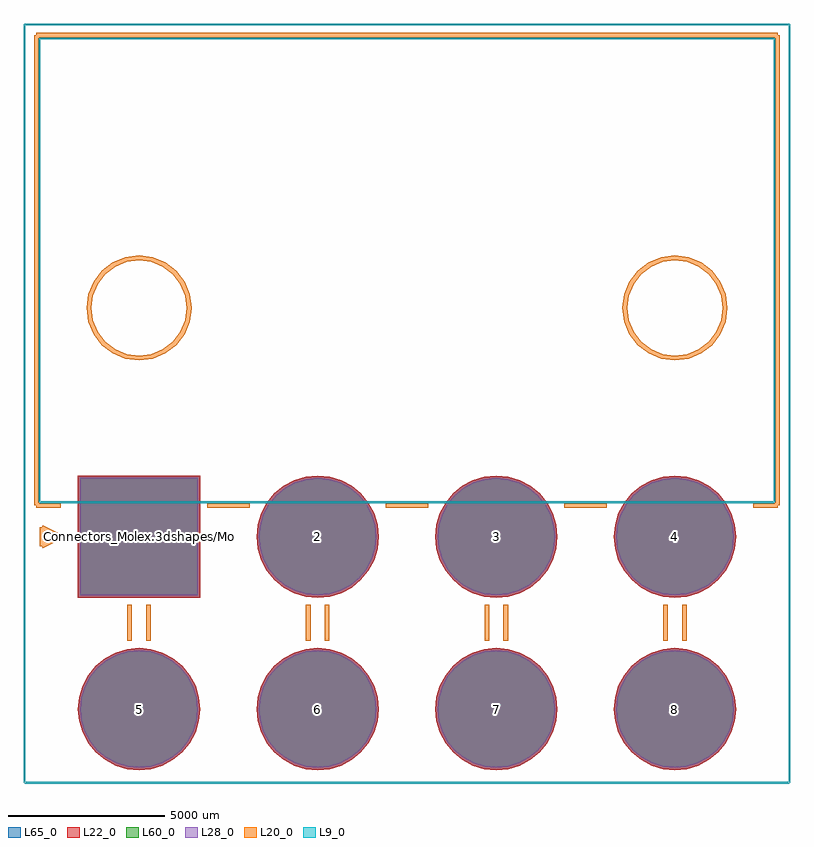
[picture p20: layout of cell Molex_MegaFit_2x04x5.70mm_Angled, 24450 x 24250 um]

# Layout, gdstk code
import gdstk
lib = gdstk.Library(unit=1e-6, precision=1e-09)
def R(c, l, rs):  # rectangles x0, y0, x1, y1
    for r in rs: c.add(gdstk.rectangle(r[:2], r[2:], *l))
def P(c, l, *ps):  # polygons
    for p in ps: c.add(gdstk.Polygon(p, *l))
L9_0 = (9, 0)
L20_0 = (20, 0)
L22_0 = (22, 0)
L28_0 = (28, 0)
L60_0 = (60, 0)
L65_0 = (65, 0)

molex_megafit_2x04x5_70m = lib.new_cell('Molex_MegaFit_2x04x5.70mm_Angled')
R(molex_megafit_2x04x5_70m, L22_0, [(-1950,-1950,1950,1950)])
P(molex_megafit_2x04x5_70m, L22_0, [(19050,-5500),(19012.531,-5119.574),(18901.565,-4753.767),(18721.366,-4416.638),(18478.858,-4121.142),(18183.362,-3878.634),(17846.233,-3698.435),(17480.426,-3587.469),(17100,-3550),(16719.574,-3587.469),(16353.767,-3698.435),(16016.638,-3878.634),(15721.142,-4121.142),(15478.634,-4416.638),(15298.435,-4753.767),(15187.469,-5119.574),(15150,-5500),(15187.469,-5880.426),(15298.435,-6246.233),(15478.634,-6583.362),(15721.142,-6878.858),(16016.638,-7121.366),(16353.767,-7301.565),(16719.574,-7412.531),(17100,-7450),(17480.426,-7412.531),(17846.233,-7301.565),(18183.362,-7121.366),(18478.858,-6878.858),(18721.366,-6583.362),(18901.565,-6246.233),(19012.531,-5880.426)],
  [(13350,-5500),(13312.531,-5119.574),(13201.565,-4753.767),(13021.366,-4416.638),(12778.858,-4121.142),(12483.362,-3878.634),(12146.233,-3698.435),(11780.426,-3587.469),(11400,-3550),(11019.574,-3587.469),(10653.767,-3698.435),(10316.638,-3878.634),(10021.142,-4121.142),(9778.634,-4416.638),(9598.435,-4753.767),(9487.469,-5119.574),(9450,-5500),(9487.469,-5880.426),(9598.435,-6246.233),(9778.634,-6583.362),(10021.142,-6878.858),(10316.638,-7121.366),(10653.767,-7301.565),(11019.574,-7412.531),(11400,-7450),(11780.426,-7412.531),(12146.233,-7301.565),(12483.362,-7121.366),(12778.858,-6878.858),(13021.366,-6583.362),(13201.565,-6246.233),(13312.531,-5880.426)],
  [(7650,-5500),(7612.531,-5119.574),(7501.565,-4753.767),(7321.366,-4416.638),(7078.858,-4121.142),(6783.362,-3878.634),(6446.233,-3698.435),(6080.426,-3587.469),(5700,-3550),(5319.574,-3587.469),(4953.767,-3698.435),(4616.638,-3878.634),(4321.142,-4121.142),(4078.634,-4416.638),(3898.435,-4753.767),(3787.469,-5119.574),(3750,-5500),(3787.469,-5880.426),(3898.435,-6246.233),(4078.634,-6583.362),(4321.142,-6878.858),(4616.638,-7121.366),(4953.767,-7301.565),(5319.574,-7412.531),(5700,-7450),(6080.426,-7412.531),(6446.233,-7301.565),(6783.362,-7121.366),(7078.858,-6878.858),(7321.366,-6583.362),(7501.565,-6246.233),(7612.531,-5880.426)],
  [(1950,-5500),(1912.531,-5119.574),(1801.565,-4753.767),(1621.366,-4416.638),(1378.858,-4121.142),(1083.362,-3878.634),(746.233,-3698.435),(380.426,-3587.469),(0,-3550),(-380.426,-3587.469),(-746.233,-3698.435),(-1083.362,-3878.634),(-1378.858,-4121.142),(-1621.366,-4416.638),(-1801.565,-4753.767),(-1912.531,-5119.574),(-1950,-5500),(-1912.531,-5880.426),(-1801.565,-6246.233),(-1621.366,-6583.362),(-1378.858,-6878.858),(-1083.362,-7121.366),(-746.233,-7301.565),(-380.426,-7412.531),(0,-7450),(380.426,-7412.531),(746.233,-7301.565),(1083.362,-7121.366),(1378.858,-6878.858),(1621.366,-6583.362),(1801.565,-6246.233),(1912.531,-5880.426)],
  [(19050,0),(19012.531,380.426),(18901.565,746.233),(18721.366,1083.362),(18478.858,1378.858),(18183.362,1621.366),(17846.233,1801.565),(17480.426,1912.531),(17100,1950),(16719.574,1912.531),(16353.767,1801.565),(16016.638,1621.366),(15721.142,1378.858),(15478.634,1083.362),(15298.435,746.233),(15187.469,380.426),(15150,0),(15187.469,-380.426),(15298.435,-746.233),(15478.634,-1083.362),(15721.142,-1378.858),(16016.638,-1621.366),(16353.767,-1801.565),(16719.574,-1912.531),(17100,-1950),(17480.426,-1912.531),(17846.233,-1801.565),(18183.362,-1621.366),(18478.858,-1378.858),(18721.366,-1083.362),(18901.565,-746.233),(19012.531,-380.426)],
  [(13350,0),(13312.531,380.426),(13201.565,746.233),(13021.366,1083.362),(12778.858,1378.858),(12483.362,1621.366),(12146.233,1801.565),(11780.426,1912.531),(11400,1950),(11019.574,1912.531),(10653.767,1801.565),(10316.638,1621.366),(10021.142,1378.858),(9778.634,1083.362),(9598.435,746.233),(9487.469,380.426),(9450,0),(9487.469,-380.426),(9598.435,-746.233),(9778.634,-1083.362),(10021.142,-1378.858),(10316.638,-1621.366),(10653.767,-1801.565),(11019.574,-1912.531),(11400,-1950),(11780.426,-1912.531),(12146.233,-1801.565),(12483.362,-1621.366),(12778.858,-1378.858),(13021.366,-1083.362),(13201.565,-746.233),(13312.531,-380.426)],
  [(7650,0),(7612.531,380.426),(7501.565,746.233),(7321.366,1083.362),(7078.858,1378.858),(6783.362,1621.366),(6446.233,1801.565),(6080.426,1912.531),(5700,1950),(5319.574,1912.531),(4953.767,1801.565),(4616.638,1621.366),(4321.142,1378.858),(4078.634,1083.362),(3898.435,746.233),(3787.469,380.426),(3750,0),(3787.469,-380.426),(3898.435,-746.233),(4078.634,-1083.362),(4321.142,-1378.858),(4616.638,-1621.366),(4953.767,-1801.565),(5319.574,-1912.531),(5700,-1950),(6080.426,-1912.531),(6446.233,-1801.565),(6783.362,-1621.366),(7078.858,-1378.858),(7321.366,-1083.362),(7501.565,-746.233),(7612.531,-380.426)])
R(molex_megafit_2x04x5_70m, L28_0, [(-1875,-1875,1875,1875)])
P(molex_megafit_2x04x5_70m, L28_0, [(18975,-5500),(18938.972,-5134.206),(18832.274,-4782.469),(18659.006,-4458.306),(18425.825,-4174.175),(18141.694,-3940.994),(17817.531,-3767.726),(17465.794,-3661.028),(17100,-3625),(16734.206,-3661.028),(16382.469,-3767.726),(16058.306,-3940.994),(15774.175,-4174.175),(15540.994,-4458.306),(15367.726,-4782.469),(15261.028,-5134.206),(15225,-5500),(15261.028,-5865.794),(15367.726,-6217.531),(15540.994,-6541.694),(15774.175,-6825.825),(16058.306,-7059.006),(16382.469,-7232.274),(16734.206,-7338.972),(17100,-7375),(17465.794,-7338.972),(17817.531,-7232.274),(18141.694,-7059.006),(18425.825,-6825.825),(18659.006,-6541.694),(18832.274,-6217.531),(18938.972,-5865.794)],
  [(13275,-5500),(13238.972,-5134.206),(13132.274,-4782.469),(12959.006,-4458.306),(12725.825,-4174.175),(12441.694,-3940.994),(12117.531,-3767.726),(11765.794,-3661.028),(11400,-3625),(11034.206,-3661.028),(10682.469,-3767.726),(10358.306,-3940.994),(10074.175,-4174.175),(9840.994,-4458.306),(9667.726,-4782.469),(9561.028,-5134.206),(9525,-5500),(9561.028,-5865.794),(9667.726,-6217.531),(9840.994,-6541.694),(10074.175,-6825.825),(10358.306,-7059.006),(10682.469,-7232.274),(11034.206,-7338.972),(11400,-7375),(11765.794,-7338.972),(12117.531,-7232.274),(12441.694,-7059.006),(12725.825,-6825.825),(12959.006,-6541.694),(13132.274,-6217.531),(13238.972,-5865.794)],
  [(7575,-5500),(7538.972,-5134.206),(7432.274,-4782.469),(7259.006,-4458.306),(7025.825,-4174.175),(6741.694,-3940.994),(6417.531,-3767.726),(6065.794,-3661.028),(5700,-3625),(5334.206,-3661.028),(4982.469,-3767.726),(4658.306,-3940.994),(4374.175,-4174.175),(4140.994,-4458.306),(3967.726,-4782.469),(3861.028,-5134.206),(3825,-5500),(3861.028,-5865.794),(3967.726,-6217.531),(4140.994,-6541.694),(4374.175,-6825.825),(4658.306,-7059.006),(4982.469,-7232.274),(5334.206,-7338.972),(5700,-7375),(6065.794,-7338.972),(6417.531,-7232.274),(6741.694,-7059.006),(7025.825,-6825.825),(7259.006,-6541.694),(7432.274,-6217.531),(7538.972,-5865.794)],
  [(1875,-5500),(1838.972,-5134.206),(1732.274,-4782.469),(1559.006,-4458.306),(1325.825,-4174.175),(1041.694,-3940.994),(717.531,-3767.726),(365.794,-3661.028),(0,-3625),(-365.794,-3661.028),(-717.531,-3767.726),(-1041.694,-3940.994),(-1325.825,-4174.175),(-1559.006,-4458.306),(-1732.274,-4782.469),(-1838.972,-5134.206),(-1875,-5500),(-1838.972,-5865.794),(-1732.274,-6217.531),(-1559.006,-6541.694),(-1325.825,-6825.825),(-1041.694,-7059.006),(-717.531,-7232.274),(-365.794,-7338.972),(0,-7375),(365.794,-7338.972),(717.531,-7232.274),(1041.694,-7059.006),(1325.825,-6825.825),(1559.006,-6541.694),(1732.274,-6217.531),(1838.972,-5865.794)],
  [(18975,0),(18938.972,365.794),(18832.274,717.531),(18659.006,1041.694),(18425.825,1325.825),(18141.694,1559.006),(17817.531,1732.274),(17465.794,1838.972),(17100,1875),(16734.206,1838.972),(16382.469,1732.274),(16058.306,1559.006),(15774.175,1325.825),(15540.994,1041.694),(15367.726,717.531),(15261.028,365.794),(15225,0),(15261.028,-365.794),(15367.726,-717.531),(15540.994,-1041.694),(15774.175,-1325.825),(16058.306,-1559.006),(16382.469,-1732.274),(16734.206,-1838.972),(17100,-1875),(17465.794,-1838.972),(17817.531,-1732.274),(18141.694,-1559.006),(18425.825,-1325.825),(18659.006,-1041.694),(18832.274,-717.531),(18938.972,-365.794)],
  [(13275,0),(13238.972,365.794),(13132.274,717.531),(12959.006,1041.694),(12725.825,1325.825),(12441.694,1559.006),(12117.531,1732.274),(11765.794,1838.972),(11400,1875),(11034.206,1838.972),(10682.469,1732.274),(10358.306,1559.006),(10074.175,1325.825),(9840.994,1041.694),(9667.726,717.531),(9561.028,365.794),(9525,0),(9561.028,-365.794),(9667.726,-717.531),(9840.994,-1041.694),(10074.175,-1325.825),(10358.306,-1559.006),(10682.469,-1732.274),(11034.206,-1838.972),(11400,-1875),(11765.794,-1838.972),(12117.531,-1732.274),(12441.694,-1559.006),(12725.825,-1325.825),(12959.006,-1041.694),(13132.274,-717.531),(13238.972,-365.794)],
  [(7575,0),(7538.972,365.794),(7432.274,717.531),(7259.006,1041.694),(7025.825,1325.825),(6741.694,1559.006),(6417.531,1732.274),(6065.794,1838.972),(5700,1875),(5334.206,1838.972),(4982.469,1732.274),(4658.306,1559.006),(4374.175,1325.825),(4140.994,1041.694),(3967.726,717.531),(3861.028,365.794),(3825,0),(3861.028,-365.794),(3967.726,-717.531),(4140.994,-1041.694),(4374.175,-1325.825),(4658.306,-1559.006),(4982.469,-1732.274),(5334.206,-1838.972),(5700,-1875),(6065.794,-1838.972),(6417.531,-1732.274),(6741.694,-1559.006),(7025.825,-1325.825),(7259.006,-1041.694),(7432.274,-717.531),(7538.972,-365.794)])
R(molex_megafit_2x04x5_70m, L60_0, [(-1875,-1875,1875,1875)])
P(molex_megafit_2x04x5_70m, L60_0, [(18975,-5500),(18938.972,-5134.206),(18832.274,-4782.469),(18659.006,-4458.306),(18425.825,-4174.175),(18141.694,-3940.994),(17817.531,-3767.726),(17465.794,-3661.028),(17100,-3625),(16734.206,-3661.028),(16382.469,-3767.726),(16058.306,-3940.994),(15774.175,-4174.175),(15540.994,-4458.306),(15367.726,-4782.469),(15261.028,-5134.206),(15225,-5500),(15261.028,-5865.794),(15367.726,-6217.531),(15540.994,-6541.694),(15774.175,-6825.825),(16058.306,-7059.006),(16382.469,-7232.274),(16734.206,-7338.972),(17100,-7375),(17465.794,-7338.972),(17817.531,-7232.274),(18141.694,-7059.006),(18425.825,-6825.825),(18659.006,-6541.694),(18832.274,-6217.531),(18938.972,-5865.794)],
  [(13275,-5500),(13238.972,-5134.206),(13132.274,-4782.469),(12959.006,-4458.306),(12725.825,-4174.175),(12441.694,-3940.994),(12117.531,-3767.726),(11765.794,-3661.028),(11400,-3625),(11034.206,-3661.028),(10682.469,-3767.726),(10358.306,-3940.994),(10074.175,-4174.175),(9840.994,-4458.306),(9667.726,-4782.469),(9561.028,-5134.206),(9525,-5500),(9561.028,-5865.794),(9667.726,-6217.531),(9840.994,-6541.694),(10074.175,-6825.825),(10358.306,-7059.006),(10682.469,-7232.274),(11034.206,-7338.972),(11400,-7375),(11765.794,-7338.972),(12117.531,-7232.274),(12441.694,-7059.006),(12725.825,-6825.825),(12959.006,-6541.694),(13132.274,-6217.531),(13238.972,-5865.794)],
  [(7575,-5500),(7538.972,-5134.206),(7432.274,-4782.469),(7259.006,-4458.306),(7025.825,-4174.175),(6741.694,-3940.994),(6417.531,-3767.726),(6065.794,-3661.028),(5700,-3625),(5334.206,-3661.028),(4982.469,-3767.726),(4658.306,-3940.994),(4374.175,-4174.175),(4140.994,-4458.306),(3967.726,-4782.469),(3861.028,-5134.206),(3825,-5500),(3861.028,-5865.794),(3967.726,-6217.531),(4140.994,-6541.694),(4374.175,-6825.825),(4658.306,-7059.006),(4982.469,-7232.274),(5334.206,-7338.972),(5700,-7375),(6065.794,-7338.972),(6417.531,-7232.274),(6741.694,-7059.006),(7025.825,-6825.825),(7259.006,-6541.694),(7432.274,-6217.531),(7538.972,-5865.794)],
  [(1875,-5500),(1838.972,-5134.206),(1732.274,-4782.469),(1559.006,-4458.306),(1325.825,-4174.175),(1041.694,-3940.994),(717.531,-3767.726),(365.794,-3661.028),(0,-3625),(-365.794,-3661.028),(-717.531,-3767.726),(-1041.694,-3940.994),(-1325.825,-4174.175),(-1559.006,-4458.306),(-1732.274,-4782.469),(-1838.972,-5134.206),(-1875,-5500),(-1838.972,-5865.794),(-1732.274,-6217.531),(-1559.006,-6541.694),(-1325.825,-6825.825),(-1041.694,-7059.006),(-717.531,-7232.274),(-365.794,-7338.972),(0,-7375),(365.794,-7338.972),(717.531,-7232.274),(1041.694,-7059.006),(1325.825,-6825.825),(1559.006,-6541.694),(1732.274,-6217.531),(1838.972,-5865.794)],
  [(18975,0),(18938.972,365.794),(18832.274,717.531),(18659.006,1041.694),(18425.825,1325.825),(18141.694,1559.006),(17817.531,1732.274),(17465.794,1838.972),(17100,1875),(16734.206,1838.972),(16382.469,1732.274),(16058.306,1559.006),(15774.175,1325.825),(15540.994,1041.694),(15367.726,717.531),(15261.028,365.794),(15225,0),(15261.028,-365.794),(15367.726,-717.531),(15540.994,-1041.694),(15774.175,-1325.825),(16058.306,-1559.006),(16382.469,-1732.274),(16734.206,-1838.972),(17100,-1875),(17465.794,-1838.972),(17817.531,-1732.274),(18141.694,-1559.006),(18425.825,-1325.825),(18659.006,-1041.694),(18832.274,-717.531),(18938.972,-365.794)],
  [(13275,0),(13238.972,365.794),(13132.274,717.531),(12959.006,1041.694),(12725.825,1325.825),(12441.694,1559.006),(12117.531,1732.274),(11765.794,1838.972),(11400,1875),(11034.206,1838.972),(10682.469,1732.274),(10358.306,1559.006),(10074.175,1325.825),(9840.994,1041.694),(9667.726,717.531),(9561.028,365.794),(9525,0),(9561.028,-365.794),(9667.726,-717.531),(9840.994,-1041.694),(10074.175,-1325.825),(10358.306,-1559.006),(10682.469,-1732.274),(11034.206,-1838.972),(11400,-1875),(11765.794,-1838.972),(12117.531,-1732.274),(12441.694,-1559.006),(12725.825,-1325.825),(12959.006,-1041.694),(13132.274,-717.531),(13238.972,-365.794)],
  [(7575,0),(7538.972,365.794),(7432.274,717.531),(7259.006,1041.694),(7025.825,1325.825),(6741.694,1559.006),(6417.531,1732.274),(6065.794,1838.972),(5700,1875),(5334.206,1838.972),(4982.469,1732.274),(4658.306,1559.006),(4374.175,1325.825),(4140.994,1041.694),(3967.726,717.531),(3861.028,365.794),(3825,0),(3861.028,-365.794),(3967.726,-717.531),(4140.994,-1041.694),(4374.175,-1325.825),(4658.306,-1559.006),(4982.469,-1732.274),(5334.206,-1838.972),(5700,-1875),(6065.794,-1838.972),(6417.531,-1732.274),(6741.694,-1559.006),(7025.825,-1325.825),(7259.006,-1041.694),(7432.274,-717.531),(7538.972,-365.794)])
R(molex_megafit_2x04x5_70m, L65_0, [(-1950,-1950,1950,1950)])
P(molex_megafit_2x04x5_70m, L65_0, [(19050,-5500),(19012.531,-5119.574),(18901.565,-4753.767),(18721.366,-4416.638),(18478.858,-4121.142),(18183.362,-3878.634),(17846.233,-3698.435),(17480.426,-3587.469),(17100,-3550),(16719.574,-3587.469),(16353.767,-3698.435),(16016.638,-3878.634),(15721.142,-4121.142),(15478.634,-4416.638),(15298.435,-4753.767),(15187.469,-5119.574),(15150,-5500),(15187.469,-5880.426),(15298.435,-6246.233),(15478.634,-6583.362),(15721.142,-6878.858),(16016.638,-7121.366),(16353.767,-7301.565),(16719.574,-7412.531),(17100,-7450),(17480.426,-7412.531),(17846.233,-7301.565),(18183.362,-7121.366),(18478.858,-6878.858),(18721.366,-6583.362),(18901.565,-6246.233),(19012.531,-5880.426)],
  [(13350,-5500),(13312.531,-5119.574),(13201.565,-4753.767),(13021.366,-4416.638),(12778.858,-4121.142),(12483.362,-3878.634),(12146.233,-3698.435),(11780.426,-3587.469),(11400,-3550),(11019.574,-3587.469),(10653.767,-3698.435),(10316.638,-3878.634),(10021.142,-4121.142),(9778.634,-4416.638),(9598.435,-4753.767),(9487.469,-5119.574),(9450,-5500),(9487.469,-5880.426),(9598.435,-6246.233),(9778.634,-6583.362),(10021.142,-6878.858),(10316.638,-7121.366),(10653.767,-7301.565),(11019.574,-7412.531),(11400,-7450),(11780.426,-7412.531),(12146.233,-7301.565),(12483.362,-7121.366),(12778.858,-6878.858),(13021.366,-6583.362),(13201.565,-6246.233),(13312.531,-5880.426)],
  [(7650,-5500),(7612.531,-5119.574),(7501.565,-4753.767),(7321.366,-4416.638),(7078.858,-4121.142),(6783.362,-3878.634),(6446.233,-3698.435),(6080.426,-3587.469),(5700,-3550),(5319.574,-3587.469),(4953.767,-3698.435),(4616.638,-3878.634),(4321.142,-4121.142),(4078.634,-4416.638),(3898.435,-4753.767),(3787.469,-5119.574),(3750,-5500),(3787.469,-5880.426),(3898.435,-6246.233),(4078.634,-6583.362),(4321.142,-6878.858),(4616.638,-7121.366),(4953.767,-7301.565),(5319.574,-7412.531),(5700,-7450),(6080.426,-7412.531),(6446.233,-7301.565),(6783.362,-7121.366),(7078.858,-6878.858),(7321.366,-6583.362),(7501.565,-6246.233),(7612.531,-5880.426)],
  [(1950,-5500),(1912.531,-5119.574),(1801.565,-4753.767),(1621.366,-4416.638),(1378.858,-4121.142),(1083.362,-3878.634),(746.233,-3698.435),(380.426,-3587.469),(0,-3550),(-380.426,-3587.469),(-746.233,-3698.435),(-1083.362,-3878.634),(-1378.858,-4121.142),(-1621.366,-4416.638),(-1801.565,-4753.767),(-1912.531,-5119.574),(-1950,-5500),(-1912.531,-5880.426),(-1801.565,-6246.233),(-1621.366,-6583.362),(-1378.858,-6878.858),(-1083.362,-7121.366),(-746.233,-7301.565),(-380.426,-7412.531),(0,-7450),(380.426,-7412.531),(746.233,-7301.565),(1083.362,-7121.366),(1378.858,-6878.858),(1621.366,-6583.362),(1801.565,-6246.233),(1912.531,-5880.426)],
  [(19050,0),(19012.531,380.426),(18901.565,746.233),(18721.366,1083.362),(18478.858,1378.858),(18183.362,1621.366),(17846.233,1801.565),(17480.426,1912.531),(17100,1950),(16719.574,1912.531),(16353.767,1801.565),(16016.638,1621.366),(15721.142,1378.858),(15478.634,1083.362),(15298.435,746.233),(15187.469,380.426),(15150,0),(15187.469,-380.426),(15298.435,-746.233),(15478.634,-1083.362),(15721.142,-1378.858),(16016.638,-1621.366),(16353.767,-1801.565),(16719.574,-1912.531),(17100,-1950),(17480.426,-1912.531),(17846.233,-1801.565),(18183.362,-1621.366),(18478.858,-1378.858),(18721.366,-1083.362),(18901.565,-746.233),(19012.531,-380.426)],
  [(13350,0),(13312.531,380.426),(13201.565,746.233),(13021.366,1083.362),(12778.858,1378.858),(12483.362,1621.366),(12146.233,1801.565),(11780.426,1912.531),(11400,1950),(11019.574,1912.531),(10653.767,1801.565),(10316.638,1621.366),(10021.142,1378.858),(9778.634,1083.362),(9598.435,746.233),(9487.469,380.426),(9450,0),(9487.469,-380.426),(9598.435,-746.233),(9778.634,-1083.362),(10021.142,-1378.858),(10316.638,-1621.366),(10653.767,-1801.565),(11019.574,-1912.531),(11400,-1950),(11780.426,-1912.531),(12146.233,-1801.565),(12483.362,-1621.366),(12778.858,-1378.858),(13021.366,-1083.362),(13201.565,-746.233),(13312.531,-380.426)],
  [(7650,0),(7612.531,380.426),(7501.565,746.233),(7321.366,1083.362),(7078.858,1378.858),(6783.362,1621.366),(6446.233,1801.565),(6080.426,1912.531),(5700,1950),(5319.574,1912.531),(4953.767,1801.565),(4616.638,1621.366),(4321.142,1378.858),(4078.634,1083.362),(3898.435,746.233),(3787.469,380.426),(3750,0),(3787.469,-380.426),(3898.435,-746.233),(4078.634,-1083.362),(4321.142,-1378.858),(4616.638,-1621.366),(4953.767,-1801.565),(5319.574,-1912.531),(5700,-1950),(6080.426,-1912.531),(6446.233,-1801.565),(6783.362,-1621.366),(7078.858,-1378.858),(7321.366,-1083.362),(7501.565,-746.233),(7612.531,-380.426)])
molex_megafit_2x04x5_70m.add(gdstk.FlexPath([(20750,16350),(-3650,16350)], 50, ends="flush", simple_path=True, layer=9, datatype=0))  # L9_0
molex_megafit_2x04x5_70m.add(gdstk.FlexPath([(20750,-7850),(20750,16350)], 50, ends="flush", simple_path=True, layer=9, datatype=0))  # L9_0
molex_megafit_2x04x5_70m.add(gdstk.FlexPath([(-3650,-7850),(20750,-7850)], 50, ends="flush", simple_path=True, layer=9, datatype=0))  # L9_0
molex_megafit_2x04x5_70m.add(gdstk.FlexPath([(-3650,16350),(-3650,-7850)], 50, ends="flush", simple_path=True, layer=9, datatype=0))  # L9_0
molex_megafit_2x04x5_70m.add(gdstk.FlexPath([(-3100,300),(-2500,0)], 149.998, ends="flush", simple_path=True, layer=20, datatype=0))  # L20_0
molex_megafit_2x04x5_70m.add(gdstk.FlexPath([(-3100,-300),(-3100,300)], 149.998, ends="flush", simple_path=True, layer=20, datatype=0))  # L20_0
molex_megafit_2x04x5_70m.add(gdstk.FlexPath([(-2500,0),(-3100,-300)], 149.998, ends="flush", simple_path=True, layer=20, datatype=0))  # L20_0
molex_megafit_2x04x5_70m.add(gdstk.FlexPath([(17400,-2175),(17400,-3325)], 149.998, ends="flush", simple_path=True, layer=20, datatype=0))  # L20_0
molex_megafit_2x04x5_70m.add(gdstk.FlexPath([(16800,-2175),(16800,-3325)], 149.998, ends="flush", simple_path=True, layer=20, datatype=0))  # L20_0
molex_megafit_2x04x5_70m.add(gdstk.FlexPath([(11700,-2175),(11700,-3325)], 149.998, ends="flush", simple_path=True, layer=20, datatype=0))  # L20_0
molex_megafit_2x04x5_70m.add(gdstk.FlexPath([(11100,-2175),(11100,-3325)], 149.998, ends="flush", simple_path=True, layer=20, datatype=0))  # L20_0
molex_megafit_2x04x5_70m.add(gdstk.FlexPath([(6000,-2175),(6000,-3325)], 149.998, ends="flush", simple_path=True, layer=20, datatype=0))  # L20_0
molex_megafit_2x04x5_70m.add(gdstk.FlexPath([(5400,-2175),(5400,-3325)], 149.998, ends="flush", simple_path=True, layer=20, datatype=0))  # L20_0
molex_megafit_2x04x5_70m.add(gdstk.FlexPath([(300,-2175),(300,-3325)], 149.998, ends="flush", simple_path=True, layer=20, datatype=0))  # L20_0
molex_megafit_2x04x5_70m.add(gdstk.FlexPath([(-300,-2175),(-300,-3325)], 149.998, ends="flush", simple_path=True, layer=20, datatype=0))  # L20_0
molex_megafit_2x04x5_70m.add(gdstk.FlexPath([(13575,1000),(14925,1000)], 149.998, ends="flush", simple_path=True, layer=20, datatype=0))  # L20_0
molex_megafit_2x04x5_70m.add(gdstk.FlexPath([(7875,1000),(9225,1000)], 149.998, ends="flush", simple_path=True, layer=20, datatype=0))  # L20_0
molex_megafit_2x04x5_70m.add(gdstk.FlexPath([(2175,1000),(3525,1000)], 149.998, ends="flush", simple_path=True, layer=20, datatype=0))  # L20_0
molex_megafit_2x04x5_70m.add(gdstk.FlexPath([(20375,1000),(19600,1000)], 149.998, ends="flush", simple_path=True, layer=20, datatype=0))  # L20_0
molex_megafit_2x04x5_70m.add(gdstk.FlexPath([(20375,16000),(20375,1000)], 149.998, ends="flush", simple_path=True, layer=20, datatype=0))  # L20_0
molex_megafit_2x04x5_70m.add(gdstk.FlexPath([(8550,16000),(20375,16000)], 149.998, ends="flush", simple_path=True, layer=20, datatype=0))  # L20_0
molex_megafit_2x04x5_70m.add(gdstk.FlexPath([(-3275,1000),(-2500,1000)], 149.998, ends="flush", simple_path=True, layer=20, datatype=0))  # L20_0
molex_megafit_2x04x5_70m.add(gdstk.FlexPath([(-3275,16000),(-3275,1000)], 149.998, ends="flush", simple_path=True, layer=20, datatype=0))  # L20_0
molex_megafit_2x04x5_70m.add(gdstk.FlexPath([(8550,16000),(-3275,16000)], 149.998, ends="flush", simple_path=True, layer=20, datatype=0))  # L20_0
molex_megafit_2x04x5_70m.add(gdstk.FlexPath([(20275,15900),(-3175,15900)], 50, ends="flush", simple_path=True, layer=9, datatype=0))  # L9_0
molex_megafit_2x04x5_70m.add(gdstk.FlexPath([(20275,1100),(20275,15900)], 50, ends="flush", simple_path=True, layer=9, datatype=0))  # L9_0
molex_megafit_2x04x5_70m.add(gdstk.FlexPath([(-3175,1100),(20275,1100)], 50, ends="flush", simple_path=True, layer=9, datatype=0))  # L9_0
molex_megafit_2x04x5_70m.add(gdstk.FlexPath([(-3175,15900),(-3175,1100)], 50, ends="flush", simple_path=True, layer=9, datatype=0))  # L9_0
molex_megafit_2x04x5_70m.add(gdstk.FlexPath([(18700,7300),(18645.481,7714.11),(18485.641,8100),(18231.371,8431.371),(17900,8685.641),(17514.11,8845.481),(17100,8900),(16685.89,8845.481),(16300,8685.641),(15968.629,8431.371),(15714.359,8100),(15554.519,7714.11),(15500,7300),(15554.519,6885.89),(15714.359,6500),(15968.629,6168.629),(16300,5914.359),(16685.89,5754.519),(17100,5700),(17514.11,5754.519),(17900,5914.359),(18231.371,6168.629),(18485.641,6500),(18645.481,6885.89),(18700,7300)], 149.998, ends="flush", simple_path=True, layer=20, datatype=0))  # L20_0
molex_megafit_2x04x5_70m.add(gdstk.FlexPath([(1600,7300),(1545.481,7714.11),(1385.641,8100),(1131.371,8431.371),(800,8685.641),(414.11,8845.481),(0,8900),(-414.11,8845.481),(-800,8685.641),(-1131.371,8431.371),(-1385.641,8100),(-1545.481,7714.11),(-1600,7300),(-1545.481,6885.89),(-1385.641,6500),(-1131.371,6168.629),(-800,5914.359),(-414.11,5754.519),(0,5700),(414.11,5754.519),(800,5914.359),(1131.371,6168.629),(1385.641,6500),(1545.481,6885.89),(1600,7300)], 149.998, ends="flush", simple_path=True, layer=20, datatype=0))  # L20_0
molex_megafit_2x04x5_70m.add(gdstk.Label('Connectors_Molex.3dshapes/Molex_MegaFit_2x04x5.70mm_Angled.wrl', (0,0), layer=12, texttype=0))
molex_megafit_2x04x5_70m.add(gdstk.Label('8', (17100,-5500), layer=28, texttype=0))
molex_megafit_2x04x5_70m.add(gdstk.Label('7', (11400,-5500), layer=28, texttype=0))
molex_megafit_2x04x5_70m.add(gdstk.Label('6', (5700,-5500), layer=28, texttype=0))
molex_megafit_2x04x5_70m.add(gdstk.Label('5', (0,-5500), layer=28, texttype=0))
molex_megafit_2x04x5_70m.add(gdstk.Label('4', (17100,0), layer=28, texttype=0))
molex_megafit_2x04x5_70m.add(gdstk.Label('3', (11400,0), layer=28, texttype=0))
molex_megafit_2x04x5_70m.add(gdstk.Label('2', (5700,0), layer=28, texttype=0))
molex_megafit_2x04x5_70m.add(gdstk.Label('1', (0,0), layer=28, texttype=0))
molex_megafit_2x04x5_70m.add(gdstk.Label('type', (8550,-10500), layer=9, texttype=0))
molex_megafit_2x04x5_70m.add(gdstk.Label('devicename', (8550,-9000), layer=9, texttype=0))

lib.write_gds('Molex_MegaFit_2x04x5.70mm_Angled.gds')
